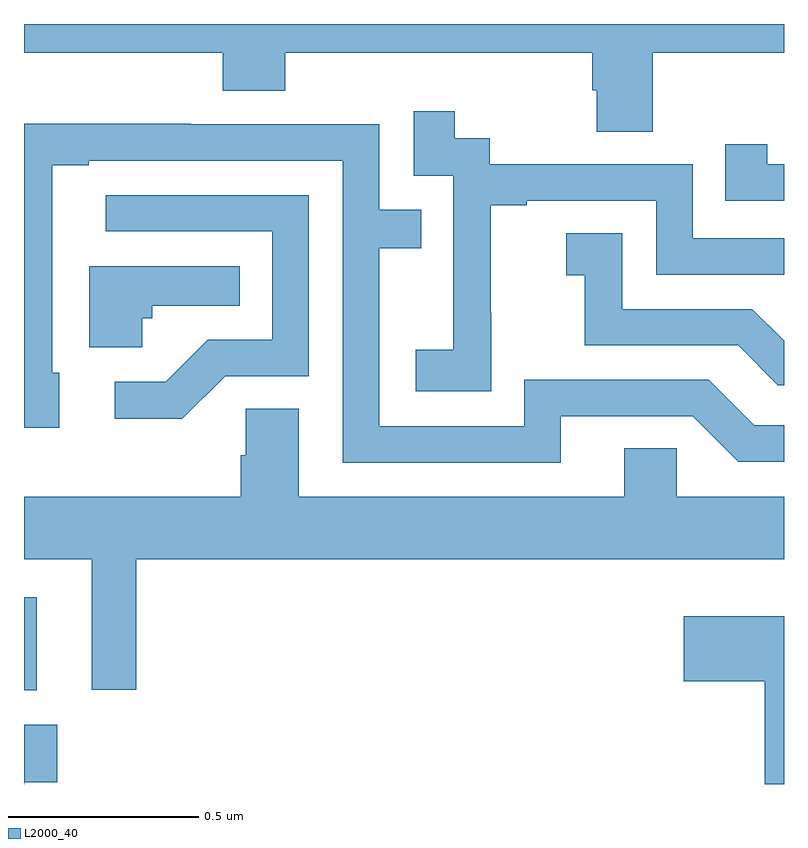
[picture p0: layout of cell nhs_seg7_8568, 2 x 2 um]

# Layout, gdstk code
import gdstk
lib = gdstk.Library(unit=1e-6, precision=1e-09)
def R(c, l, rs):  # rectangles x0, y0, x1, y1
    for r in rs: c.add(gdstk.rectangle(r[:2], r[2:], *l))
def P(c, l, *ps):  # polygons
    for p in ps: c.add(gdstk.Polygon(p, *l))
L2000_40 = (2000, 40)

nhs_seg7_8568 = lib.new_cell('nhs_seg7_8568')
R(nhs_seg7_8568, L2000_40, [(226,1024.247,226.033,1024.492)])
P(nhs_seg7_8568, L2000_40, [(227.655,1025.924),(228,1025.924),(228,1026),(226,1026),(226,1025.924),(226.523,1025.924),(226.523,1025.825),(226.688,1025.825),(226.688,1025.924),(227.495,1025.924),(227.495,1025.826),(227.507,1025.826),(227.507,1025.716),(227.655,1025.716)],
  [(227.229,1025.239),(227.228,1025.239),(227.228,1025.523),(227.323,1025.523),(227.323,1025.535),(227.664,1025.535),(227.664,1025.34),(228,1025.34),(228,1025.436),(227.76,1025.436),(227.76,1025.631),(227.226,1025.631),(227.226,1025.7),(227.134,1025.7),(227.134,1025.77),(227.025,1025.77),(227.025,1025.601),(227.13,1025.601),(227.13,1025.372),(227.129,1025.372),(227.129,1025.143),(227.031,1025.143),(227.031,1025.033),(227.229,1025.033)],
  [(227.413,1024.968),(227.76,1024.968),(227.88,1024.848),(228,1024.848),(228,1024.944),(227.922,1024.944),(227.802,1025.064),(227.316,1025.064),(227.316,1024.941),(226.935,1024.941),(226.935,1025.41),(227.045,1025.41),(227.045,1025.511),(226.935,1025.511),(226.935,1025.736),(226.439,1025.736),(226.439,1025.738),(226,1025.738),(226,1024.938),(226.093,1024.938),(226.093,1025.082),(226.074,1025.082),(226.074,1025.628),(226.171,1025.628),(226.171,1025.64),(226.839,1025.64),(226.839,1024.845),(227.413,1024.845)],
  [(228,1025.631),(227.956,1025.631),(227.956,1025.683),(227.845,1025.683),(227.845,1025.535),(228,1025.535)],
  [(226.53,1025.073),(226.749,1025.073),(226.749,1025.55),(226.215,1025.55),(226.215,1025.454),(226.653,1025.454),(226.653,1025.169),(226.484,1025.169),(226.373,1025.058),(226.239,1025.058),(226.239,1024.961),(226.417,1024.961)],
  [(228,1025.166),(227.916,1025.25),(227.574,1025.25),(227.574,1025.449),(227.427,1025.449),(227.427,1025.339),(227.476,1025.339),(227.476,1025.154),(227.879,1025.154),(227.984,1025.049),(228,1025.049)],
  [(226.311,1025.226),(226.338,1025.226),(226.338,1025.258),(226.568,1025.258),(226.568,1025.362),(226.172,1025.362),(226.172,1025.15),(226.311,1025.15)],
  [(226.295,1024.592),(228,1024.592),(228,1024.756),(227.718,1024.756),(227.718,1024.883),(227.579,1024.883),(227.579,1024.756),(226.723,1024.756),(226.723,1024.988),(226.584,1024.988),(226.584,1024.865),(226.571,1024.865),(226.571,1024.756),(226,1024.756),(226,1024.592),(226.178,1024.592),(226.178,1024.248),(226.295,1024.248)],
  [(228,1024.441),(227.736,1024.441),(227.736,1024.271),(227.949,1024.271),(227.949,1024),(228,1024)],
  [(226.001,1024.004),(226.087,1024.004),(226.087,1024.156),(226,1024.156),(226,1024),(226.001,1024)])

lib.write_gds('nhs_seg7_8568.gds')
